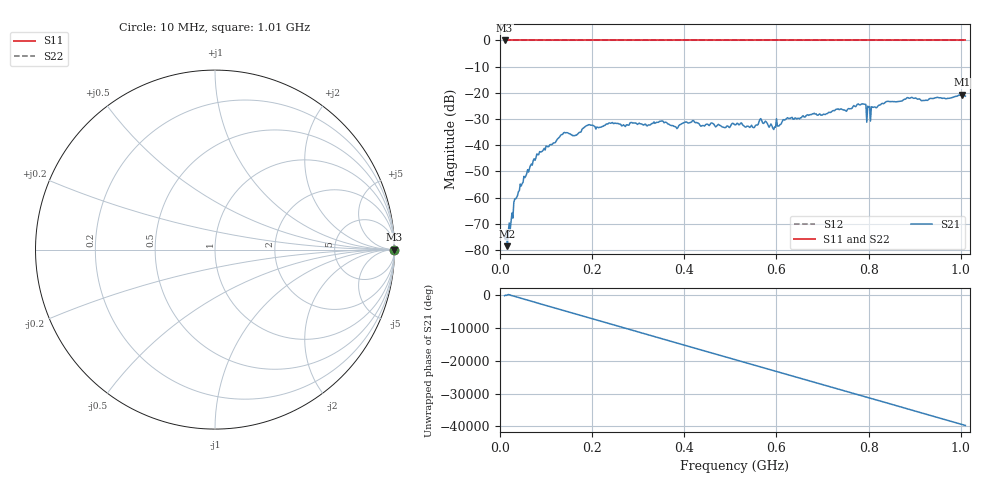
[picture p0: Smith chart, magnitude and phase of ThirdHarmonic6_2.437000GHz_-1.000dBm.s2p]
! 8/17/2025 4:15:52 AM
! C:\ANRITSUVNA\TEMP\TEMP.S2P
! CHANNEL.1
! TR.MEASUREMENT
! RAW.DATA
! RF.CORRECTION.OFF
! AVERAGING.OFF
! IF.BANDWIDTH: 5KHZ
! SWEEPTYPE:  FREQ.SWEEP(Linear)
! Reference Plane Port Info
! PORT:  PORT1  PORT2
! DISTANCE:  0  m  0  m
! TIME:  0  s  0  s
! PHASE.OFFSET:  0  deg.  0  deg.
! LOSS:  0  dB  0  dB
! REF.LOSS:  0  dB  0  dB
! REF.FREQ:  0  Hz  0  Hz
! Power Info
! POWER:  -20  dBm  -20  dBm
! EFF.POWER:  -20  dBm  -20  dBm
! SOURCE.ATTEN:  0  dB  0  dB
! TEST.ATTEN:  0  dB  0  dB
# GHZ S RI R 50.0
! FREQ.GHZ  S11RE  S11IM  S21RE  S21IM  S12RE  S12IM  S22RE  S22IM
!; PortSelection: Port_12
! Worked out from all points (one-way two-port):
!   501 points, 10 MHz to 1.01 GHz, reference 50 ohm
!   highest |S21| = -20.72 dB at 1.002 GHz (marker M1); lowest = -78.5 dB at 16 MHz (marker M2)
!   lowest |S11| = 0.0 dB at 10 MHz (marker M3)
!   |S11| at or under -10 dB: nowhere
!   |S22| runs from 0.0 to 0.0 dB; largest |S21 - S12| = 1.1
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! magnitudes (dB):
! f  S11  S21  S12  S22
! 10 MHz  0.0  -75.3  0.0  0.0
! 16 MHz  0.0  -78.5  0.0  0.0
! 20 MHz  0.0  -69.7  0.0  0.0
! 34 MHz  0.0  -60.5  0.0  0.0
! 76 MHz  0.0  -45.7  0.0  0.0
! 136 MHz  0.0  -35.8  0.0  0.0
! 178 MHz  0.0  -33.9  0.0  0.0
! 194 MHz  0.0  -32.1  0.0  0.0
! 344 MHz  0.0  -31.2  0.0  0.0
! 382 MHz  0.0  -33.1  0.0  0.0
! 418 MHz  0.0  -30.6  0.0  0.0
! 510 MHz  0.0  -32.2  0.0  0.0
! 552 MHz  0.0  -33.2  0.0  0.0
! 566 MHz  0.0  -29.8  0.0  0.0
! 594 MHz  0.0  -34.0  0.0  0.0
! 620 MHz  0.0  -30.1  0.0  0.0
! 678 MHz  0.0  -28.0  0.0  0.0
! 788 MHz  0.0  -24.3  0.0  0.0
! 800 MHz  0.0  -25.4  0.0  0.0
! 844 MHz  0.0  -23.3  0.0  0.0
! 1.002 GHz  0.0  -20.7  0.0  0.0
! 1.01 GHz  0.0  -21.3  0.0  0.0
